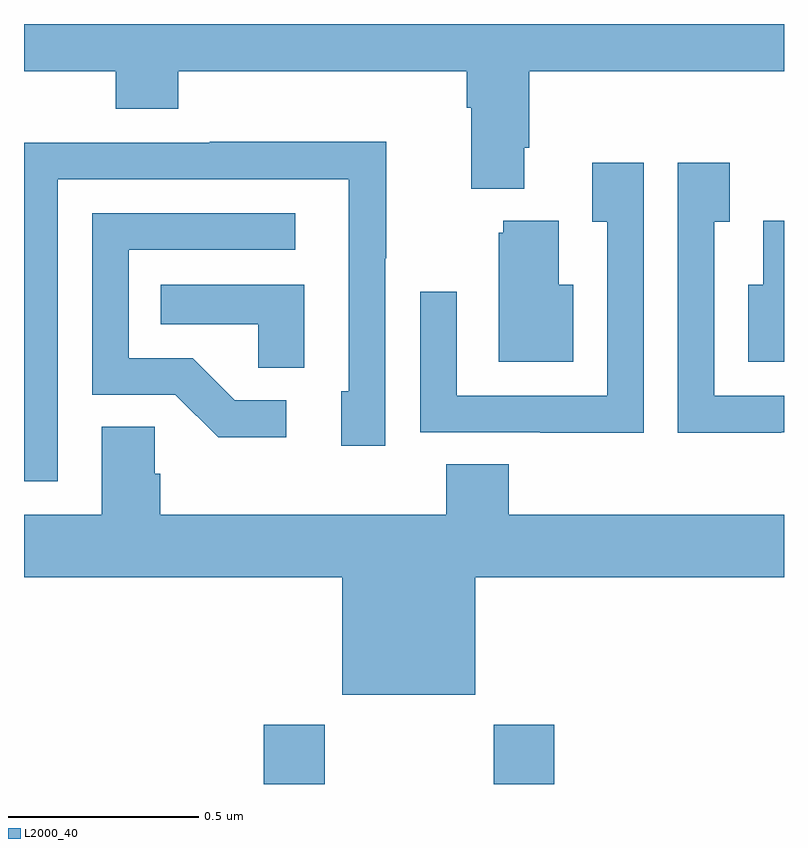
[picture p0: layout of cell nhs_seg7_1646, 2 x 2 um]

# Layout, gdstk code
import gdstk
lib = gdstk.Library(unit=1e-6, precision=1e-09)
def R(c, l, rs):  # rectangles x0, y0, x1, y1
    for r in rs: c.add(gdstk.rectangle(r[:2], r[2:], *l))
def P(c, l, *ps):  # polygons
    for p in ps: c.add(gdstk.Polygon(p, *l))
L2000_40 = (2000, 40)

nhs_seg7_1646 = lib.new_cell('nhs_seg7_1646')
R(nhs_seg7_1646, L2000_40, [(133.631,1072,133.791,1072.156), (134.236,1072,134.396,1072.156)])
P(nhs_seg7_1646, L2000_40, [(134.317,1073.674),(134.33,1073.674),(134.33,1073.876),(135,1073.876),(135,1074),(133,1074),(133,1073.876),(133.241,1073.876),(133.241,1073.777),(133.406,1073.777),(133.406,1073.876),(134.165,1073.876),(134.165,1073.78),(134.177,1073.78),(134.177,1073.567),(134.317,1073.567)],
  [(133.089,1073.592),(133.854,1073.592),(133.854,1073.034),(133.835,1073.034),(133.835,1072.89),(133.95,1072.89),(133.95,1073.383),(133.953,1073.383),(133.953,1073.69),(133.489,1073.69),(133.489,1073.688),(133,1073.688),(133,1072.797),(133.089,1072.797)],
  [(134.993,1072.926),(135,1072.926),(135,1073.022),(134.817,1073.022),(134.817,1073.479),(134.857,1073.479),(134.857,1073.635),(134.721,1073.635),(134.721,1072.925),(134.993,1072.925)],
  [(134.631,1073.635),(134.495,1073.635),(134.495,1073.479),(134.535,1073.479),(134.535,1073.022),(134.139,1073.022),(134.139,1073.296),(134.043,1073.296),(134.043,1072.926),(134.359,1072.926),(134.359,1072.925),(134.631,1072.925)],
  [(133.69,1073.01),(133.555,1073.01),(133.444,1073.121),(133.275,1073.121),(133.275,1073.406),(133.714,1073.406),(133.714,1073.502),(133.179,1073.502),(133.179,1073.025),(133.398,1073.025),(133.511,1072.913),(133.69,1072.913)],
  [(135,1073.482),(134.945,1073.482),(134.945,1073.314),(134.906,1073.314),(134.906,1073.111),(135,1073.111)],
  [(134.446,1073.314),(134.407,1073.314),(134.407,1073.482),(134.261,1073.482),(134.261,1073.451),(134.249,1073.451),(134.249,1073.111),(134.446,1073.111)],
  [(133.738,1073.314),(133.36,1073.314),(133.36,1073.21),(133.617,1073.21),(133.617,1073.095),(133.738,1073.095)],
  [(134.188,1072.544),(135,1072.544),(135,1072.708),(134.276,1072.708),(134.276,1072.841),(134.111,1072.841),(134.111,1072.708),(133.358,1072.708),(133.358,1072.817),(133.344,1072.817),(133.344,1072.94),(133.205,1072.94),(133.205,1072.708),(133,1072.708),(133,1072.544),(133.838,1072.544),(133.838,1072.235),(134.188,1072.235)])

lib.write_gds('nhs_seg7_1646.gds')
